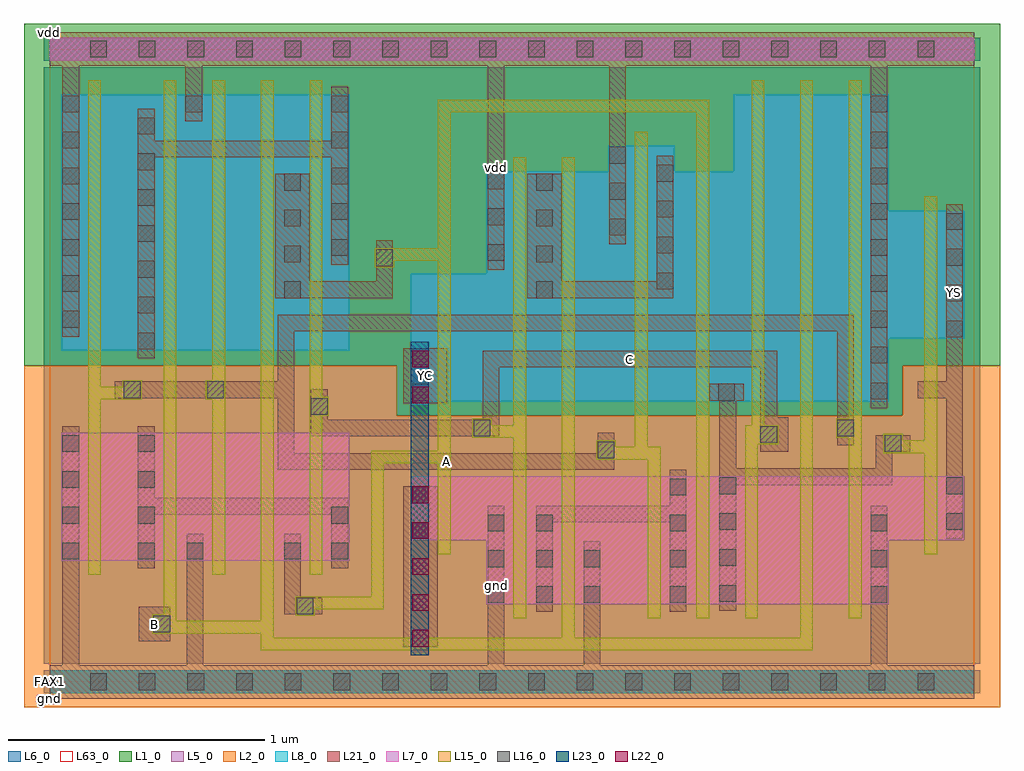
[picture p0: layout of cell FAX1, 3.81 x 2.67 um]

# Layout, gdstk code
import gdstk
lib = gdstk.Library(unit=1e-6, precision=1e-09)
def R(c, l, rs):  # rectangles x0, y0, x1, y1
    for r in rs: c.add(gdstk.rectangle(r[:2], r[2:], *l))
def A(c, l, x, y, w, h, nx, ny, dx, dy):  # array of equal rectangles
    R(c, l, [(x+i*dx, y+j*dy, x+i*dx+w, y+j*dy+h) for i in range(nx) for j in range(ny)])
def P(c, l, *ps):  # polygons
    for p in ps: c.add(gdstk.Polygon(p, *l))
L1_0 = (1, 0)
L2_0 = (2, 0)
L5_0 = (5, 0)
L6_0 = (6, 0)
L7_0 = (7, 0)
L8_0 = (8, 0)
L15_0 = (15, 0)
L16_0 = (16, 0)
L21_0 = (21, 0)
L22_0 = (22, 0)
L23_0 = (23, 0)
L63_0 = (63, 0)

fax1 = lib.new_cell('FAX1')
P(fax1, L1_0, [(3.71,1.235),(3.33,1.235),(3.33,1.038),(1.355,1.038),(1.355,1.235),(-0.1,1.235),(-0.1,2.57),(3.71,2.57)])
P(fax1, L2_0, [(-0.1,1.235),(1.355,1.235),(1.355,1.038),(3.33,1.038),(3.33,1.235),(3.71,1.235),(3.71,-0.1),(-0.1,-0.1)])
A(fax1, L5_0, 2.335, 0.303, 0.05, 0.5, 3, 1, 0.19, 0)
A(fax1, L5_0, 0.445, 0.473, 0.05, 0.5, 4, 1, 0.19, 0)
A(fax1, L5_0, 0.495, 0.473, 0.14, 0.5, 3, 1, 0.19, 0)
A(fax1, L5_0, 2.74, 1.093, 0.05, 1.2, 3, 1, 0.19, 0)
A(fax1, L5_0, 0.445, 1.293, 0.05, 1, 4, 1, 0.19, 0)
A(fax1, L5_0, 0.495, 1.293, 0.14, 1, 3, 1, 0.19, 0)
R(fax1, L5_0, [(0,-0.045,3.61,0.045), (1.81,0.303,1.86,0.803), (1.86,0.303,2,0.803), (2,0.303,2.05,0.803), (2.05,0.303,2.335,0.803), (2.385,0.303,2.525,0.803), (2.575,0.303,2.715,0.803), (2.765,0.303,2.93,0.803), (2.93,0.303,2.98,0.803), (2.98,0.303,3.12,0.803), (3.12,0.303,3.17,0.803), (0.045,0.473,0.15,0.973), (0.15,0.473,0.2,0.973), (0.2,0.473,0.445,0.973), (1.065,0.473,1.17,0.973), (1.41,0.553,1.515,0.803), (1.515,0.553,1.565,0.803), (3.415,0.553,3.465,0.803), (3.465,0.553,3.57,0.803), (1.41,1.093,1.515,1.593), (1.515,1.093,1.565,1.593), (1.81,1.093,1.86,1.993), (1.86,1.093,2,1.993), (2,1.093,2.05,1.993), (2.285,1.093,2.335,2.093), (2.525,1.093,2.575,1.993), (2.79,1.093,2.93,2.293), (2.98,1.093,3.12,2.293), (0.045,1.293,0.15,2.293), (0.15,1.293,0.2,2.293), (0.2,1.293,0.445,2.293), (1.065,1.293,1.17,2.293), (3.415,1.34,3.465,1.84), (3.465,1.34,3.57,1.84), (0,2.425,3.61,2.515)])
P(fax1, L5_0, [(1.81,0.803),(1.81,0.303),(1.705,0.303),(1.705,0.553),(1.565,0.553),(1.565,0.803)],
  [(3.415,0.803),(3.415,0.553),(3.275,0.553),(3.275,0.303),(3.17,0.303),(3.17,0.803)],
  [(1.81,1.993),(1.81,1.093),(1.565,1.093),(1.565,1.593),(1.705,1.593),(1.705,1.993)],
  [(2.285,2.093),(2.285,1.093),(2.05,1.093),(2.05,1.993),(2.18,1.993),(2.18,2.093)],
  [(2.44,1.993),(2.525,1.993),(2.525,1.093),(2.335,1.093),(2.335,2.093),(2.44,2.093)],
  [(2.67,1.993),(2.67,2.293),(2.74,2.293),(2.74,1.093),(2.575,1.093),(2.575,1.993)],
  [(3.275,1.84),(3.415,1.84),(3.415,1.34),(3.275,1.34),(3.275,1.093),(3.17,1.093),(3.17,2.293),(3.275,2.293)])
R(fax1, L6_0, [(-0.023,-0.045,3.633,0.045), (-0.023,-0.045,3.633,0.045), (-0.023,2.425,3.633,2.515), (-0.023,2.425,3.633,2.515)])
P(fax1, L6_0, [(1.355,1.235),(1.355,1.038),(3.33,1.038),(3.33,1.235),(3.633,1.235),(3.633,0.07),(-0.023,0.07),(-0.023,1.235)],
  [(-0.023,1.235),(-0.023,2.4),(3.633,2.4),(3.633,1.235),(3.33,1.235),(3.33,1.038),(1.355,1.038),(1.355,1.235)])
A(fax1, L7_0, 2.335, 0.303, 0.05, 0.5, 3, 1, 0.19, 0)
A(fax1, L7_0, 0.445, 0.473, 0.05, 0.5, 4, 1, 0.19, 0)
A(fax1, L7_0, 0.495, 0.473, 0.14, 0.5, 3, 1, 0.19, 0)
R(fax1, L7_0, [(1.81,0.303,1.86,0.803), (1.86,0.303,2,0.803), (2,0.303,2.05,0.803), (2.05,0.303,2.335,0.803), (2.385,0.303,2.525,0.803), (2.575,0.303,2.715,0.803), (2.765,0.303,2.93,0.803), (2.93,0.303,2.98,0.803), (2.98,0.303,3.12,0.803), (3.12,0.303,3.17,0.803), (0.045,0.473,0.15,0.973), (0.15,0.473,0.2,0.973), (0.2,0.473,0.445,0.973), (1.065,0.473,1.17,0.973), (1.41,0.553,1.515,0.803), (1.515,0.553,1.565,0.803), (3.415,0.553,3.465,0.803), (3.465,0.553,3.57,0.803), (0,2.425,3.61,2.515)])
P(fax1, L7_0, [(1.81,0.803),(1.81,0.303),(1.705,0.303),(1.705,0.553),(1.565,0.553),(1.565,0.803)],
  [(3.415,0.803),(3.415,0.553),(3.275,0.553),(3.275,0.303),(3.17,0.303),(3.17,0.803)])
A(fax1, L8_0, 2.74, 1.093, 0.05, 1.2, 3, 1, 0.19, 0)
A(fax1, L8_0, 0.445, 1.293, 0.05, 1, 4, 1, 0.19, 0)
A(fax1, L8_0, 0.495, 1.293, 0.14, 1, 3, 1, 0.19, 0)
R(fax1, L8_0, [(0,-0.045,3.61,0.045), (1.41,1.093,1.515,1.593), (1.515,1.093,1.565,1.593), (1.81,1.093,1.86,1.993), (1.86,1.093,2,1.993), (2,1.093,2.05,1.993), (2.285,1.093,2.335,2.093), (2.525,1.093,2.575,1.993), (2.79,1.093,2.93,2.293), (2.98,1.093,3.12,2.293), (0.045,1.293,0.15,2.293), (0.15,1.293,0.2,2.293), (0.2,1.293,0.445,2.293), (1.065,1.293,1.17,2.293), (3.415,1.34,3.465,1.84), (3.465,1.34,3.57,1.84)])
P(fax1, L8_0, [(1.81,1.993),(1.81,1.093),(1.565,1.093),(1.565,1.593),(1.705,1.593),(1.705,1.993)],
  [(2.285,2.093),(2.285,1.093),(2.05,1.093),(2.05,1.993),(2.18,1.993),(2.18,2.093)],
  [(2.44,1.993),(2.525,1.993),(2.525,1.093),(2.335,1.093),(2.335,2.093),(2.44,2.093)],
  [(2.67,1.993),(2.67,2.293),(2.74,2.293),(2.74,1.093),(2.575,1.093),(2.575,1.993)],
  [(3.275,1.84),(3.415,1.84),(3.415,1.34),(3.275,1.34),(3.275,1.093),(3.17,1.093),(3.17,2.293),(3.275,2.293)])
A(fax1, L15_0, 2.335, 0.248, 0.05, 0.055, 3, 1, 0.19, 0)
A(fax1, L15_0, 2.335, 0.303, 0.05, 0.5, 3, 1, 0.19, 0)
A(fax1, L15_0, 0.445, 0.473, 0.05, 0.5, 4, 1, 0.19, 0)
A(fax1, L15_0, 2.74, 1.093, 0.05, 1.2, 3, 1, 0.19, 0)
A(fax1, L15_0, 0.445, 1.293, 0.05, 1, 4, 1, 0.19, 0)
A(fax1, L15_0, 0.445, 2.293, 0.05, 0.055, 4, 1, 0.19, 0)
A(fax1, L15_0, 2.74, 2.293, 0.05, 0.055, 3, 1, 0.19, 0)
R(fax1, L15_0, [(1.81,0.248,1.86,0.303), (3.12,0.248,3.17,0.303), (1.81,0.303,1.86,0.803), (2,0.303,2.05,0.803), (2.93,0.303,2.98,0.803), (3.12,0.303,3.17,0.803), (0.15,0.418,0.2,0.473), (0.635,0.418,0.685,0.473), (1.015,0.418,1.065,0.473), (0.15,0.473,0.2,0.973), (1.515,0.498,1.565,0.553), (3.415,0.498,3.465,0.553), (1.515,0.553,1.565,0.803), (3.415,0.553,3.465,0.803), (2,0.803,2.05,1.093), (2.525,0.803,2.575,1.093), (2.93,0.803,2.98,1.093), (0.445,0.973,0.495,1.293), (0.825,0.973,0.875,1.293), (1.515,1.093,1.565,1.593), (1.81,1.093,1.86,1.993), (2,1.093,2.05,1.993), (2.285,1.093,2.335,2.093), (2.525,1.093,2.575,1.993), (0.15,1.293,0.2,2.293), (3.415,1.34,3.465,1.84), (3.415,1.84,3.465,1.895), (1.81,1.993,1.86,2.047), (2,1.993,2.05,2.047), (2.285,2.093,2.335,2.148), (0.15,2.293,0.2,2.348)])
P(fax1, L15_0, [(0.15,1.293),(0.2,1.293),(0.2,1.153),(0.285,1.153),(0.285,1.178),(0.36,1.178),(0.36,1.103),(0.2,1.103),(0.2,0.973),(0.15,0.973)],
  [(0.445,0.263),(0.445,0.473),(0.495,0.473),(0.495,0.238),(0.825,0.238),(0.825,0.473),(0.875,0.473),(0.875,0.173),(2,0.173),(2,0.303),(2.05,0.303),(2.05,0.173),(2.93,0.173),(2.93,0.303),(2.98,0.303),(2.98,0.123),(0.825,0.123),(0.825,0.188),(0.4,0.188),(0.4,0.263)],
  [(0.635,1.103),(0.61,1.103),(0.61,1.178),(0.635,1.178),(0.635,1.293),(0.685,1.293),(0.685,0.973),(0.635,0.973)],
  [(1.015,1.293),(1.065,1.293),(1.065,1.113),(1.09,1.113),(1.09,1.038),(1.065,1.038),(1.065,0.973),(1.015,0.973)],
  [(1.515,0.853),(1.305,0.853),(1.305,0.283),(1.035,0.283),(1.035,0.258),(0.96,0.258),(0.96,0.333),(1.255,0.333),(1.255,0.903),(1.515,0.903),(1.515,1.093),(1.565,1.093),(1.565,0.803),(1.515,0.803)],
  [(1.515,1.643),(1.345,1.643),(1.345,1.618),(1.27,1.618),(1.27,1.693),(1.515,1.693),(1.515,2.273),(2.575,2.273),(2.575,1.993),(2.525,1.993),(2.525,2.223),(1.565,2.223),(1.565,1.593),(1.515,1.593)],
  [(1.81,0.953),(1.65,0.953),(1.65,1.028),(1.725,1.028),(1.725,1.002),(1.81,1.002),(1.81,1.093),(1.86,1.093),(1.86,0.803),(1.81,0.803)],
  [(2.335,0.868),(2.135,0.868),(2.135,0.943),(2.21,0.943),(2.21,0.918),(2.285,0.918),(2.285,1.093),(2.335,1.093),(2.335,0.918),(2.385,0.918),(2.385,0.803),(2.335,0.803)],
  [(2.715,1.002),(2.74,1.002),(2.74,1.093),(2.79,1.093),(2.79,1.002),(2.845,1.002),(2.845,0.928),(2.765,0.928),(2.765,0.803),(2.715,0.803)],
  [(3.12,0.953),(3.07,0.953),(3.07,1.028),(3.12,1.028),(3.12,1.093),(3.17,1.093),(3.17,0.803),(3.12,0.803)],
  [(3.415,0.893),(3.255,0.893),(3.255,0.968),(3.33,0.968),(3.33,0.943),(3.415,0.943),(3.415,1.34),(3.465,1.34),(3.465,0.803),(3.415,0.803)])
A(fax1, L16_0, 0.158, -0.033, 0.065, 0.066, 18, 1, 0.19, 0)
A(fax1, L16_0, 1.71, 0.308, 0.065, 0.065, 1, 3, 0, 0.14)
A(fax1, L16_0, 1.9, 0.308, 0.065, 0.065, 1, 3, 0, 0.14)
A(fax1, L16_0, 2.42, 0.308, 0.065, 0.065, 1, 4, 0, 0.14)
A(fax1, L16_0, 3.205, 0.308, 0.065, 0.065, 1, 3, 0, 0.14)
A(fax1, L16_0, 2.615, 0.313, 0.065, 0.065, 1, 4, 0, 0.14)
A(fax1, L16_0, 0.05, 0.478, 0.065, 0.065, 1, 4, 0, 0.14)
A(fax1, L16_0, 0.345, 0.478, 0.065, 0.065, 1, 4, 0, 0.14)
A(fax1, L16_0, 3.205, 1.103, 0.065, 0.065, 1, 6, 0, 0.14)
A(fax1, L16_0, 0.345, 1.298, 0.065, 0.065, 1, 7, 0, 0.14)
A(fax1, L16_0, 3.5, 1.345, 0.065, 0.065, 1, 4, 0, 0.14)
A(fax1, L16_0, 0.05, 1.383, 0.065, 0.065, 1, 4, 0, 0.14)
A(fax1, L16_0, 0.915, 1.498, 0.065, 0.065, 1, 4, 0, 0.14)
A(fax1, L16_0, 1.9, 1.498, 0.065, 0.065, 1, 4, 0, 0.14)
A(fax1, L16_0, 2.37, 1.533, 0.065, 0.065, 1, 4, 0, 0.14)
A(fax1, L16_0, 1.71, 1.643, 0.065, 0.065, 1, 3, 0, 0.14)
A(fax1, L16_0, 2.185, 1.743, 0.065, 0.065, 1, 3, 0, 0.14)
A(fax1, L16_0, 0.158, 2.438, 0.065, 0.065, 18, 1, 0.19, 0)
R(fax1, L16_0, [(0.405,0.193,0.47,0.258), (0.965,0.263,1.03,0.328), (2.085,0.308,2.15,0.373), (2.085,0.448,2.15,0.513), (0.535,0.478,0.6,0.543), (0.915,0.478,0.98,0.543), (1.1,0.478,1.165,0.543), (1.415,0.558,1.48,0.623), (3.5,0.593,3.565,0.658), (1.1,0.618,1.165,0.683), (1.415,0.698,1.48,0.763), (3.5,0.733,3.565,0.798), (2.14,0.873,2.205,0.938), (3.26,0.898,3.325,0.963), (2.775,0.933,2.84,0.998), (1.655,0.958,1.72,1.023), (3.075,0.958,3.14,1.023), (1.02,1.043,1.085,1.108), (1.415,1.098,1.48,1.163), (2.61,1.098,2.675,1.163), (0.29,1.108,0.355,1.173), (0.615,1.108,0.68,1.173), (1.415,1.238,1.48,1.303), (1.275,1.623,1.34,1.688), (1.1,1.663,1.165,1.728), (1.1,1.803,1.165,1.868), (0.05,1.943,0.115,2.007), (1.1,1.943,1.165,2.007), (3.205,1.943,3.27,2.007), (0.05,2.083,0.115,2.148), (1.1,2.083,1.165,2.148), (3.205,2.083,3.27,2.148), (0.05,2.223,0.115,2.288), (0.53,2.223,0.595,2.288), (1.1,2.223,1.165,2.288), (3.205,2.223,3.27,2.288)])
R(fax1, L21_0, [(1.38,0.138,1.515,0.763), (0.348,0.158,0.47,0.293), (1.38,1.088,1.553,1.303)])
P(fax1, L21_0, [(0,2.405),(0,2.535),(3.61,2.535),(3.61,2.405),(3.27,2.405),(3.27,1.068),(3.205,1.068),(3.205,2.405),(2.25,2.405),(2.25,1.708),(2.185,1.708),(2.185,2.405),(1.775,2.405),(1.775,1.608),(1.71,1.608),(1.71,2.405),(0.595,2.405),(0.595,2.188),(0.53,2.188),(0.53,2.405),(0.115,2.405),(0.115,1.348),(0.05,1.348),(0.05,2.405)],
  [(0,-0.065),(0,0.065),(0.05,0.065),(0.05,0.998),(0.115,0.998),(0.115,0.065),(0.535,0.065),(0.535,0.578),(0.6,0.578),(0.6,0.065),(1.71,0.065),(1.71,0.688),(1.775,0.688),(1.775,0.065),(2.085,0.065),(2.085,0.548),(2.15,0.548),(2.15,0.065),(3.205,0.065),(3.205,0.688),(3.27,0.688),(3.27,0.065),(3.61,0.065),(3.61,-0.065)],
  [(0.89,1.173),(0.89,1.433),(3.14,1.433),(3.14,0.923),(3.075,0.923),(3.075,1.368),(0.955,1.368),(0.955,0.893),(2.14,0.893),(2.14,0.973),(2.205,0.973),(2.205,0.828),(0.89,0.828),(0.89,1.108),(0.255,1.108),(0.255,1.173)],
  [(2.775,0.898),(2.775,1.228),(1.755,1.228),(1.755,0.958),(1.02,0.958),(1.02,1.143),(1.085,1.143),(1.085,1.023),(1.69,1.023),(1.69,1.293),(2.84,1.293),(2.84,1.033),(2.883,1.033),(2.883,0.898)],
  [(0.915,0.578),(0.98,0.578),(0.98,0.328),(1.065,0.328),(1.065,0.263),(0.915,0.263)],
  [(1.015,1.563),(1.275,1.563),(1.275,1.723),(1.34,1.723),(1.34,1.498),(0.88,1.498),(0.88,1.983),(1.015,1.983)],
  [(3.225,0.963),(3.36,0.963),(3.36,0.898),(3.29,0.898),(3.29,0.768),(2.68,0.768),(2.68,0.278),(2.615,0.278),(2.615,1.098),(2.575,1.098),(2.575,1.163),(2.71,1.163),(2.71,1.098),(2.68,1.098),(2.68,0.833),(3.225,0.833)],
  [(3.5,0.558),(3.5,1.108),(3.388,1.108),(3.388,1.173),(3.5,1.173),(3.5,1.865),(3.565,1.865),(3.565,0.558)],
  [(1.1,1.628),(1.1,2.047),(0.41,2.047),(0.41,1.263),(0.345,1.263),(0.345,2.238),(0.41,2.238),(0.41,2.113),(1.1,2.113),(1.1,2.323),(1.165,2.323),(1.165,1.628)],
  [(2.37,1.563),(2.37,2.053),(2.435,2.053),(2.435,1.498),(1.865,1.498),(1.865,1.983),(2,1.983),(2,1.563)],
  [(1.1,0.443),(1.1,0.653),(0.41,0.653),(0.41,0.443),(0.345,0.443),(0.345,0.998),(0.41,0.998),(0.41,0.718),(1.165,0.718),(1.165,0.443)],
  [(2.42,0.273),(2.42,0.623),(1.965,0.623),(1.965,0.273),(1.9,0.273),(1.9,0.688),(2.42,0.688),(2.42,0.828),(2.485,0.828),(2.485,0.273)])
A(fax1, L22_0, 1.415, 0.138, 0.065, 0.065, 1, 5, 0, 0.14)
R(fax1, L22_0, [(1.415,1.088,1.48,1.153), (1.415,1.228,1.48,1.293)])
R(fax1, L23_0, [(1.41,0.103,1.48,1.328)])
R(fax1, L63_0, [(0,0,3.61,2.47)])
fax1.add(gdstk.Label('vdd', (1.743,2.006), layer=21, texttype=1))
fax1.add(gdstk.Label('gnd', (1.743,0.376), layer=21, texttype=1))
fax1.add(gdstk.Label('A', (1.548,0.86), layer=21, texttype=1))
fax1.add(gdstk.Label('B', (0.409,0.225), layer=21, texttype=1))
fax1.add(gdstk.Label('C', (2.265,1.26), layer=21, texttype=1))
fax1.add(gdstk.Label('YS', (3.533,1.519), layer=21, texttype=1))
fax1.add(gdstk.Label('YC', (1.466,1.195), layer=21, texttype=1))
fax1.add(gdstk.Label('vdd', (0,2.535), layer=21, texttype=2))
fax1.add(gdstk.Label('gnd', (0,-0.065), layer=21, texttype=2))
fax1.add(gdstk.Label('FAX1', (0,0), layer=63, texttype=1))

lib.write_gds('FAX1.gds')
